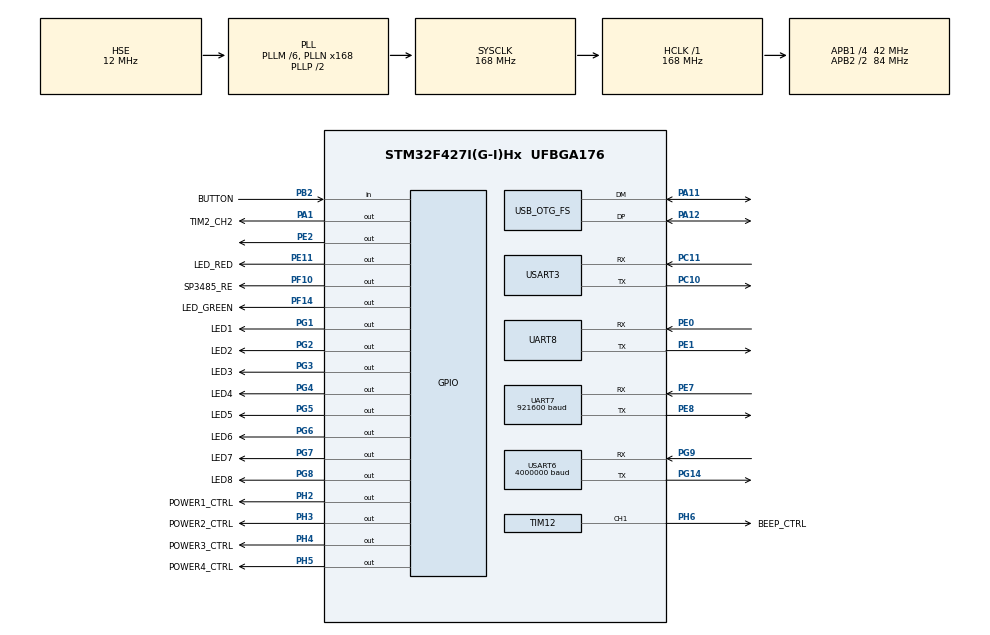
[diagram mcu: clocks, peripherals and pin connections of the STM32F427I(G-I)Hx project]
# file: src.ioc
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Dma.Request0=USART6_RX
Dma.Request1=USART6_TX
Dma.Request2=UART7_RX
Dma.Request3=UART7_TX
Dma.Request4=UART8_RX
Dma.Request5=UART8_TX
Dma.UART7_RX.2.Direction=DMA_PERIPH_TO_MEMORY
Dma.UART7_RX.2.FIFOMode=DMA_FIFOMODE_DISABLE
Dma.UART7_RX.2.Instance=DMA1_Stream3
Dma.UART7_RX.2.MemDataAlignment=DMA_MDATAALIGN_BYTE
Dma.UART7_RX.2.MemInc=DMA_MINC_ENABLE
Dma.UART7_RX.2.Mode=DMA_CIRCULAR
Dma.UART7_RX.2.PeriphDataAlignment=DMA_PDATAALIGN_BYTE
Dma.UART7_RX.2.PeriphInc=DMA_PINC_DISABLE
Dma.UART7_RX.2.Priority=DMA_PRIORITY_LOW
Dma.UART7_TX.3.Direction=DMA_MEMORY_TO_PERIPH
Dma.UART7_TX.3.FIFOMode=DMA_FIFOMODE_DISABLE
Dma.UART7_TX.3.Instance=DMA1_Stream1
Dma.UART7_TX.3.MemDataAlignment=DMA_MDATAALIGN_BYTE
Dma.UART7_TX.3.MemInc=DMA_MINC_ENABLE
Dma.UART7_TX.3.Mode=DMA_NORMAL
Dma.UART7_TX.3.PeriphDataAlignment=DMA_PDATAALIGN_BYTE
Dma.UART7_TX.3.PeriphInc=DMA_PINC_DISABLE
Dma.UART7_TX.3.Priority=DMA_PRIORITY_LOW
Dma.UART8_RX.4.Direction=DMA_PERIPH_TO_MEMORY
Dma.UART8_RX.4.FIFOMode=DMA_FIFOMODE_DISABLE
Dma.UART8_RX.4.Instance=DMA1_Stream6
Dma.UART8_RX.4.MemDataAlignment=DMA_MDATAALIGN_BYTE
Dma.UART8_RX.4.MemInc=DMA_MINC_ENABLE
Dma.UART8_RX.4.Mode=DMA_CIRCULAR
Dma.UART8_RX.4.PeriphDataAlignment=DMA_PDATAALIGN_BYTE
Dma.UART8_RX.4.PeriphInc=DMA_PINC_DISABLE
Dma.UART8_RX.4.Priority=DMA_PRIORITY_LOW
Dma.UART8_TX.5.Direction=DMA_MEMORY_TO_PERIPH
Dma.UART8_TX.5.FIFOMode=DMA_FIFOMODE_DISABLE
Dma.UART8_TX.5.Instance=DMA1_Stream0
Dma.UART8_TX.5.MemDataAlignment=DMA_MDATAALIGN_BYTE
Dma.UART8_TX.5.MemInc=DMA_MINC_ENABLE
Dma.UART8_TX.5.Mode=DMA_NORMAL
Dma.UART8_TX.5.PeriphDataAlignment=DMA_PDATAALIGN_BYTE
Dma.UART8_TX.5.PeriphInc=DMA_PINC_DISABLE
Dma.UART8_TX.5.Priority=DMA_PRIORITY_LOW
Dma.USART6_RX.0.Direction=DMA_PERIPH_TO_MEMORY
Dma.USART6_RX.0.FIFOMode=DMA_FIFOMODE_DISABLE
Dma.USART6_RX.0.Instance=DMA2_Stream1
Dma.USART6_RX.0.MemDataAlignment=DMA_MDATAALIGN_BYTE
Dma.USART6_RX.0.MemInc=DMA_MINC_ENABLE
Dma.USART6_RX.0.Mode=DMA_NORMAL
Dma.USART6_RX.0.PeriphDataAlignment=DMA_PDATAALIGN_BYTE
Dma.USART6_RX.0.PeriphInc=DMA_PINC_DISABLE
Dma.USART6_RX.0.Priority=DMA_PRIORITY_LOW
Dma.USART6_TX.1.Direction=DMA_MEMORY_TO_PERIPH
Dma.USART6_TX.1.FIFOMode=DMA_FIFOMODE_DISABLE
Dma.USART6_TX.1.Instance=DMA2_Stream6
Dma.USART6_TX.1.MemDataAlignment=DMA_MDATAALIGN_BYTE
Dma.USART6_TX.1.MemInc=DMA_MINC_ENABLE
Dma.USART6_TX.1.Mode=DMA_NORMAL
Dma.USART6_TX.1.PeriphDataAlignment=DMA_PDATAALIGN_BYTE
Dma.USART6_TX.1.PeriphInc=DMA_PINC_DISABLE
Dma.USART6_TX.1.Priority=DMA_PRIORITY_LOW
Mcu.Family=STM32F4
Mcu.Name=STM32F427I(G-I)Hx
Mcu.Package=UFBGA176
NVIC.DMA1_Stream0_IRQn=true\:0\:0\:false\:false\:true\:false\:true\:true
NVIC.DMA1_Stream1_IRQn=true\:0\:0\:false\:false\:true\:false\:true\:true
NVIC.DMA1_Stream3_IRQn=true\:0\:0\:false\:false\:true\:false\:true\:true
NVIC.DMA1_Stream6_IRQn=true\:0\:0\:false\:false\:true\:false\:true\:true
NVIC.DMA2_Stream1_IRQn=true\:0\:0\:false\:false\:true\:false\:true\:true
NVIC.DMA2_Stream6_IRQn=true\:0\:0\:false\:false\:true\:false\:true\:true
NVIC.OTG_FS_IRQn=true\:0\:0\:false\:false\:true\:false\:true\:true
NVIC.PriorityGroup=NVIC_PRIORITYGROUP_4
NVIC.TIM1_BRK_TIM9_IRQn=true\:0\:0\:false\:false\:true\:true\:true\:true
NVIC.TIM1_UP_TIM10_IRQn=true\:0\:0\:true\:false\:true\:true\:true\:true
NVIC.UART7_IRQn=true\:0\:0\:false\:false\:true\:true\:true\:true
NVIC.UART8_IRQn=true\:0\:0\:false\:false\:true\:true\:true\:true
NVIC.USART6_IRQn=true\:0\:0\:false\:false\:true\:true\:true\:true
PA1.GPIO_Label=TIM2_CH2
PA1.Signal=GPIO_Output
PA10.GPIO_PuPd=GPIO_PULLDOWN
PA10.Signal=USB_OTG_FS_ID
PA11.Mode=Device_Only
PA11.Signal=USB_OTG_FS_DM
PA12.Mode=Device_Only
PA12.Signal=USB_OTG_FS_DP
PB2/BOOT1.GPIO_Label=BUTTON
PB2/BOOT1.Signal=GPIO_Input
PC10.Mode=Asynchronous
PC10.Signal=USART3_TX
PC11.Mode=Asynchronous
PC11.Signal=USART3_RX
PE0.Mode=Asynchronous
PE0.Signal=UART8_RX
PE1.Mode=Asynchronous
PE1.Signal=UART8_TX
PE11.GPIO_Label=LED_RED
PE11.GPIO_PuPd=GPIO_PULLDOWN
PE11.Signal=GPIO_Output
PE2.Signal=GPIO_Output
PE7.Mode=Asynchronous
PE7.Signal=UART7_RX
PE8.Mode=Asynchronous
PE8.Signal=UART7_TX
PF10.GPIO_Label=SP3485_RE
PF10.GPIO_Speed=GPIO_SPEED_FREQ_HIGH
PF10.Signal=GPIO_Output
PF14.GPIO_Label=LED_GREEN
PF14.GPIO_PuPd=GPIO_PULLDOWN
PF14.Signal=GPIO_Output
PG1.GPIO_Label=LED1
PG1.GPIO_PuPd=GPIO_PULLUP
PG1.Signal=GPIO_Output
PG14.Mode=Asynchronous
PG14.Signal=USART6_TX
PG2.GPIO_Label=LED2
PG2.GPIO_PuPd=GPIO_PULLUP
PG2.Signal=GPIO_Output
PG3.GPIO_Label=LED3
PG3.GPIO_PuPd=GPIO_PULLUP
PG3.Signal=GPIO_Output
PG4.GPIO_Label=LED4
PG4.GPIO_PuPd=GPIO_PULLUP
PG4.Signal=GPIO_Output
PG5.GPIO_Label=LED5
PG5.GPIO_PuPd=GPIO_PULLUP
PG5.Signal=GPIO_Output
PG6.GPIO_Label=LED6
PG6.GPIO_PuPd=GPIO_PULLUP
PG6.Signal=GPIO_Output
PG7.GPIO_Label=LED7
PG7.GPIO_PuPd=GPIO_PULLUP
PG7.Signal=GPIO_Output
PG8.GPIO_Label=LED8
PG8.GPIO_PuPd=GPIO_PULLUP
PG8.Signal=GPIO_Output
PG9.Mode=Asynchronous
PG9.Signal=USART6_RX
PH0/OSC_IN.Mode=HSE-External-Oscillator
PH0/OSC_IN.Signal=RCC_OSC_IN
PH1/OSC_OUT.Mode=HSE-External-Oscillator
PH1/OSC_OUT.Signal=RCC_OSC_OUT
PH2.GPIO_Label=POWER1_CTRL
PH2.GPIO_PuPd=GPIO_PULLDOWN
PH2.Signal=GPIO_Output
PH3.GPIO_Label=POWER2_CTRL
PH3.GPIO_PuPd=GPIO_PULLDOWN
PH3.Signal=GPIO_Output
PH4.GPIO_Label=POWER3_CTRL
PH4.GPIO_PuPd=GPIO_PULLDOWN
PH4.Signal=GPIO_Output
PH5.GPIO_Label=POWER4_CTRL
PH5.GPIO_PuPd=GPIO_PULLDOWN
PH5.Signal=GPIO_Output
PH6.GPIO_Label=BEEP_CTRL
PH6.Signal=S_TIM12_CH1
ProjectManager.HeapSize=0x2000
ProjectManager.StackSize=0x2000
ProjectManager.TargetToolchain=MDK-ARM V5
RCC.48MHZClocksFreq_Value=48000000
RCC.AHBFreq_Value=168000000
RCC.APB1CLKDivider=RCC_HCLK_DIV4
RCC.APB1Freq_Value=42000000
RCC.APB1TimFreq_Value=84000000
RCC.APB2CLKDivider=RCC_HCLK_DIV2
RCC.APB2Freq_Value=84000000
RCC.APB2TimFreq_Value=168000000
RCC.CortexFreq_Value=168000000
RCC.HCLKFreq_Value=168000000
RCC.HSE_VALUE=12000000
RCC.HSI_VALUE=16000000
RCC.LSE_VALUE=32768
RCC.PLLM=6
RCC.PLLN=168
RCC.PLLQ=7
RCC.SYSCLKFreq_VALUE=168000000
RCC.SYSCLKSource=RCC_SYSCLKSOURCE_PLLCLK
RCC.VCOOutputFreq_Value=336000000
SH.S_TIM12_CH1.0=TIM12_CH1,PWM Generation1 CH1
TIM1.Period=499
TIM1.Prescaler=1679
TIM12.Channel-PWM\ Generation1\ CH1=TIM_CHANNEL_1
TIM12.Period=1999
TIM12.Prescaler=99
TIM9.Period=999
TIM9.Prescaler=1679
UART7.BaudRate=921600
UART7.VirtualMode=Asynchronous
UART8.VirtualMode=Asynchronous
USART3.VirtualMode=VM_ASYNC
USART6.BaudRate=4000000
USART6.VirtualMode=VM_ASYNC
USB_DEVICE.CLASS_NAME_FS=CDC
USB_DEVICE.VirtualMode-CDC_FS=Cdc
USB_DEVICE.VirtualModeFS=Cdc_FS
USB_OTG_FS.VirtualMode=Device_Only
VP_TIM12_VS_ClockSourceINT.Mode=Internal
VP_TIM1_VS_ClockSourceINT.Mode=Internal
VP_TIM9_VS_ClockSourceINT.Mode=Internal
VP_USB_DEVICE_VS_USB_DEVICE_CDC_FS.Mode=CDC_FS
board=USB

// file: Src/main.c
/* USER CODE BEGIN Header */
/**
  ******************************************************************************
  * @file           : main.c
  * @brief          : Main program body
  ******************************************************************************
  * @attention
  *
  * Copyright (c) 2023 STMicroelectronics.
  * All rights reserved.
  *
  * This software is licensed under terms that can be found in the LICENSE file
  * in the root directory of this software component.
  * If no LICENSE file comes with this software, it is provided AS-IS.
  *
  ******************************************************************************
  */
/* USER CODE END Header */
#include "main.h"
#include "dma.h"
#include "tim.h"
#include "usart.h"
#include "usb_device.h"
#include "gpio.h"

/* USER CODE BEGIN Includes */
#include "motor_control.h"
#include "buzzer.h"
#include "SEGGER_RTT.h"
/* USER CODE END Includes */

/* USER CODE BEGIN PTD */
typedef enum{
	EXAMPLE_BUZZER_START,
	EXAMPLE_BUZZER_STOP,
	EXAMPLE_BUZZER_RINGTONE,
	EXAMPLE_BUZZER_NO_LOOP,
	EXAMPLE_BUZZER_LOOP
}example_buzzer_e;
/* USER CODE END PTD */

/* USER CODE BEGIN PV */
MOTOR_send cmd[2];   //以全局变量声明电机控制结构体和电机数据结构体，方便在故障时通过debug查看变量值
MOTOR_recv data[2];
#define USB_MAX_RECEIVE_LEN 64
uint8_t rxData[USB_MAX_RECEIVE_LEN] = {0};
uint32_t rxLen = 0;

#define PWM_TIM		&htim12
#define PWM_CHN		TIM_CHANNEL_1
#ifndef USE_STATIC_MEM_ALLOCATION
buzzer_t mBuzzer;
#endif
buzzer_t *Buzzer;
example_buzzer_e example = EXAMPLE_BUZZER_STOP;
uint8_t nextPattern;

extern volatile float VELX[IMU_SAMPLE_FRAME], ANGX[IMU_SAMPLE_FRAME];
static uint32_t timer1_count;
static uint32_t gait50_count[GAIT_SAMPLE_FRAME];
static uint32_t gait85_count[GAIT_SAMPLE_FRAME];
static uint32_t GAIT_PERIOD;
extern DebugTypeDef usbDebug;

uint8_t uart6Data = 0;
uint8_t ucRxBuffer6[30] = {0};
static int LED_ON[8];
/* USER CODE END PV */

void SystemClock_Config(void);

/* USER CODE BEGIN 0 */
void pwm_start(){
	HAL_TIM_PWM_Start(PWM_TIM, PWM_CHN);
}

void pwm_set_dc(uint32_t dc){
	uint32_t arr, comp;

	arr = __HAL_TIM_GET_AUTORELOAD(PWM_TIM);
	comp = dc*arr/100;
	__HAL_TIM_SET_COMPARE(PWM_TIM, PWM_CHN, comp);
}

void pwm_set_freq(uint32_t freq){
	uint32_t psc, arr, sys;

	if (freq > 0){
		sys = HAL_RCC_GetSysClockFreq();
		arr = __HAL_TIM_GET_AUTORELOAD(PWM_TIM);
		psc = (sys/(freq*(arr+1)))-1;
		__HAL_TIM_SET_PRESCALER(PWM_TIM, psc);
		pwm_set_dc(50);
	}
	else
		__HAL_TIM_SET_COMPARE(PWM_TIM, PWM_CHN, 0);
}

void buzzer_end_callback(buzzer_t *buzzer){
	nextPattern = 1;
}

void motor_init(int i){
	if(i != 0 && i != 1) return;
	cmd[i].id=i;
	cmd[i].mode=1;
	cmd[i].T=0;
	cmd[i].W=0;
	cmd[i].Pos=0;
	cmd[i].K_P=0;
	cmd[i].K_W=0;
}

void motor_stop(int i){
	if(i != 0 && i != 1) return;
	cmd[i].mode=0;
}

void motor_zeroTorque(int i){
	if(i != 0 && i != 1) return;
	cmd[i].T = 0.0;
	cmd[i].W = 0.0;
	cmd[i].Pos = 0.0;
	cmd[i].K_P = 0.0;
	cmd[i].K_W = 0.0;
	if(SERVO_Send_recv(&cmd[i], &data[i])) //将控制指令发送给电机，同时接收返回值
		LED_ON[7] = 100; //LED1点亮
}

void motor_damping(int i){
	if(i != 0 && i != 1) return;
	cmd[i].T = 0.0;
	cmd[i].W = 0.0;
	cmd[i].Pos = 0.0;
	cmd[i].K_P = 0.0;
	cmd[i].K_W = 0.02;
	if(SERVO_Send_recv(&cmd[i], &data[i])) //将控制指令发送给电机，同时接收返回值
		LED_ON[7] = 100; //LED1点亮
}

void motor_profilePosition(int i, float pos_rad){
	if(i != 0 && i != 1) return;
	cmd[i].T = 0.0;
	cmd[i].W = 0.0;
	cmd[i].Pos = pos_rad*6.33f;
	cmd[i].K_P = 0.02f;
	cmd[i].K_W = 0.0;
	if(SERVO_Send_recv(&cmd[i], &data[i])) //将控制指令发送给电机，同时接收返回值
		LED_ON[7] = 100; //LED1点亮
}

void motor_profileVelocity(int i, float vel_rad){
	if(i != 0 && i != 1) return;
	cmd[i].T = 0.0;
	cmd[i].W = vel_rad*6.33f;
	cmd[i].Pos = 0;
	cmd[i].K_P = 0;
	cmd[i].K_W = 0.05f;
	if(SERVO_Send_recv(&cmd[i], &data[i])) //将控制指令发送给电机，同时接收返回值
		LED_ON[7] = 100; //LED1点亮
}

void gait_phase_detect(){

	uint32_t angmax1_count = 0;
	uint32_t angmin1_count = 0;
	uint32_t angmax2_count = 0;
	uint32_t angmin2_count = 0;

	uint32_t velplus1_count = 0;
	uint32_t velminus1_count = 0;
	uint32_t velplus2_count = 0;
	uint32_t velminus2_count = 0;

	for(uint32_t i=0; i< MEDIAN; i++){
		if(ANGX[i] < ANGX[MEDIAN]) angmax1_count++;
		else if(ANGX[i] > ANGX[MEDIAN]) angmin1_count++;

		if(VELX[i] < 0) velminus1_count++;
		else if(VELX[i] > 0) velplus1_count++;
	}
	for(uint32_t i=MEDIAN; i< IMU_SAMPLE_FRAME; i++){
		if(ANGX[i] < ANGX[MEDIAN]) angmax2_count++;
		else if(ANGX[i] > ANGX[MEDIAN]) angmin2_count++;

		if(VELX[i] < 0) velminus2_count++;
		else if(VELX[i] > 0) velplus2_count++;
	}

	if(angmin1_count > THRESHOLD && angmin2_count > THRESHOLD && velminus1_count > THRESHOLD && velplus2_count > THRESHOLD)
	{
		for(int i=0;i<GAIT_SAMPLE_FRAME-1;i++) {gait50_count[i]=gait50_count[i+1];}
		gait50_count[GAIT_SAMPLE_FRAME-1] = timer1_count - MEDIAN;
		LED_ON[0] = 100;
		debugPrintf("gait50: %d, %d, %d\r\n",gait50_count[0],gait50_count[1],gait50_count[2]);
	}
	if(angmax1_count > THRESHOLD && angmax2_count > THRESHOLD && velplus1_count > THRESHOLD && velminus2_count > THRESHOLD)
	{
		for(int i=0;i<GAIT_SAMPLE_FRAME-1;i++) {gait85_count[i]=gait85_count[i+1];}
		gait85_count[GAIT_SAMPLE_FRAME-1] = timer1_count - MEDIAN;
		LED_ON[1] = 100;
		debugPrintf("gait85: %d, %d, %d\r\n",gait85_count[0],gait85_count[1],gait85_count[2]);
	}
}

void gait_update_period(){

	GAIT_PERIOD = (gait50_count[2] - gait50_count[0])/2;
}

void HAL_TIM_PeriodElapsedCallback(TIM_HandleTypeDef *htim){
	if (htim == (&htim9)){
		buzzer_interrupt(Buzzer);
	}

	if (htim == (&htim1))
	{
//		gait_phase_detect();
//		gait_update_period();
//		uint32_t assist_start = gait50_count[GAIT_SAMPLE_FRAME-1] + 0.7*GAIT_PERIOD;
//		uint32_t assist_stop = gait50_count[GAIT_SAMPLE_FRAME-1] + 1.2*GAIT_PERIOD;
//		if(timer1_count >= assist_start && timer1_count < assist_stop)
//			motor_profileVelocity(0.5);
//		else
//			motor_zeroTorque();

		timer1_count++;
	}
}
/* USER CODE END 0 */

int main(void)
{

  /* MCU Configuration--------------------------------------------------------*/

  /* Reset of all peripherals, Initializes the Flash interface and the Systick. */
  HAL_Init();

  /* Configure the system clock */
  SystemClock_Config();

  /* Initialize all configured peripherals */
  MX_GPIO_Init();
  MX_DMA_Init();
  MX_USART6_UART_Init();
  MX_UART7_Init();
  MX_TIM1_Init();
  MX_UART8_Init();
  MX_TIM12_Init();
  MX_TIM9_Init();
  MX_USART3_UART_Init();
  MX_USB_DEVICE_Init();
  /* USER CODE BEGIN 2 */
	HAL_Delay(1000);
//	SEGGER_RTT_ConfigUpBuffer(0, NULL, NULL, 0, SEGGER_RTT_MODE_BLOCK_IF_FIFO_FULL);

	initDebugBuf();
//	HAL_UART_Receive_IT(&huart8, (uint8_t *)&ucData_L, 1);
	HAL_GPIO_WritePin(GPIOH, POWER1_CTRL_Pin, GPIO_PIN_SET);
  HAL_GPIO_WritePin(GPIOH, POWER2_CTRL_Pin, GPIO_PIN_SET);
	HAL_GPIO_WritePin(GPIOH, POWER3_CTRL_Pin, GPIO_PIN_SET);
  HAL_GPIO_WritePin(GPIOH, POWER4_CTRL_Pin, GPIO_PIN_SET);

	HAL_TIM_Base_Start_IT(&htim1);
//	HAL_TIM_PWM_Start(&htim12, TIM_CHANNEL_1);

	HAL_UART_Receive_DMA(&huart7, ucData_L, 1);

	uartPrintf("StartSTM32\r\n");

	cmd[0].id=0; 			//给电机控制指令结构体赋值
	cmd[0].mode=1;
	cmd[0].T=0;
	cmd[0].W=2;
	cmd[0].Pos=0;
	cmd[0].K_P=0;
	cmd[0].K_W=0.05;
	cmd[1].id=1; 			//给电机控制指令结构体赋值
	cmd[1].mode=1;
	cmd[1].T=0;
	cmd[1].W=4;
	cmd[1].Pos=0;
	cmd[1].K_P=0;
	cmd[1].K_W=0.05;

//	cmd.T=0;
//	cmd.W=0;
//	cmd.Pos=0;
//	cmd.K_P=0;
//	cmd.K_W=0;
	unsigned int count = 0;

	Buzzer = &mBuzzer;
	Buzzer->interruptMs = 10; // interrupt will be triggered every 10ms
  Buzzer->fnx.pwmOut = pwm_set_freq; // pass set frequency function
	buzzer_init(Buzzer);
  HAL_TIM_Base_Start_IT(&htim9);
  pwm_start();
	nextPattern = 1;
  /* USER CODE END 2 */

  /* Infinite loop */
  /* USER CODE BEGIN WHILE */
  while (1)
  {
//		sendAllDebugMsg(&usbDebug);
//		beep_set_times(1);
//		beep_set_tick(0);
		SERVO_Send_recv(&cmd[0], &data[0]);	//将控制指令发送给电机，同时接收返回值
		HAL_Delay(10);
		SERVO_Send_recv(&cmd[1], &data[1]);	//将控制指令发送给电机，同时接收返回值
//		uartPrintf("count: %d\r\n",count);
		HAL_Delay(200);
		HAL_GPIO_TogglePin(LED_GREEN_GPIO_Port,LED_GREEN_Pin);
		count++;	//每0.2秒循环一次，3秒后发送指令使电机停止转动
		if(count % 6 == 0)
		{
			cmd[0].W=0;
			cmd[0].K_W=0;
			cmd[1].W=0;
			cmd[1].K_W=0;
			HAL_Delay(400);
		}
		else{
			cmd[0].W=2;
			cmd[0].K_W=0.05;
			cmd[1].W=2;
			cmd[1].K_W=0.05;
		}
    /* USER CODE END WHILE */

    /* USER CODE BEGIN 3 */

//  SEGGER_RTT_printf(0, "printf Test: %%c,         'S' : %c.\r\n", 'S');
//  SEGGER_RTT_printf(0, "printf Test: %%5c,        'E' : %5c.\r\n", 'E');
//  SEGGER_RTT_printf(0, "printf Test: %%-5c,       'G' : %-5c.\r\n", 'G');
//  SEGGER_RTT_printf(0, "printf Test: %%5.3c,      'G' : %-5c.\r\n", 'G');
//  SEGGER_RTT_printf(0, "printf Test: %%.3c,       'E' : %-5c.\r\n", 'E');
//  SEGGER_RTT_printf(0, "printf Test: %%c,         'R' : %c.\r\n", 'R');
//	HAL_Delay(500);
  }
  /* USER CODE END 3 */
}

void SystemClock_Config(void)
{
  RCC_OscInitTypeDef RCC_OscInitStruct = {0};
  RCC_ClkInitTypeDef RCC_ClkInitStruct = {0};

  /** Configure the main internal regulator output voltage
  */
  __HAL_RCC_PWR_CLK_ENABLE();
  __HAL_PWR_VOLTAGESCALING_CONFIG(PWR_REGULATOR_VOLTAGE_SCALE1);

  /** Initializes the RCC Oscillators according to the specified parameters
  * in the RCC_OscInitTypeDef structure.
  */
  RCC_OscInitStruct.OscillatorType = RCC_OSCILLATORTYPE_HSE;
  RCC_OscInitStruct.HSEState = RCC_HSE_ON;
  RCC_OscInitStruct.PLL.PLLState = RCC_PLL_ON;
  RCC_OscInitStruct.PLL.PLLSource = RCC_PLLSOURCE_HSE;
  RCC_OscInitStruct.PLL.PLLM = 6;
  RCC_OscInitStruct.PLL.PLLN = 168;
  RCC_OscInitStruct.PLL.PLLP = RCC_PLLP_DIV2;
  RCC_OscInitStruct.PLL.PLLQ = 7;
  if (HAL_RCC_OscConfig(&RCC_OscInitStruct) != HAL_OK)
  {
    Error_Handler();
  }

  /** Initializes the CPU, AHB and APB buses clocks
  */
  RCC_ClkInitStruct.ClockType = RCC_CLOCKTYPE_HCLK|RCC_CLOCKTYPE_SYSCLK
                              |RCC_CLOCKTYPE_PCLK1|RCC_CLOCKTYPE_PCLK2;
  RCC_ClkInitStruct.SYSCLKSource = RCC_SYSCLKSOURCE_PLLCLK;
  RCC_ClkInitStruct.AHBCLKDivider = RCC_SYSCLK_DIV1;
  RCC_ClkInitStruct.APB1CLKDivider = RCC_HCLK_DIV4;
  RCC_ClkInitStruct.APB2CLKDivider = RCC_HCLK_DIV2;

  if (HAL_RCC_ClockConfig(&RCC_ClkInitStruct, FLASH_LATENCY_5) != HAL_OK)
  {
    Error_Handler();
  }
}

/* USER CODE BEGIN 4 */
//void HAL_TIM_PeriodElapsedCallback(TIM_HandleTypeDef *htim){
//	if (htim == (&htim1))
//	{
//		static unsigned int count = 0;
////		uartPrintf("count: %d\r\n",count);
////		sprintf(uartBuf,"count: %d\r\n",count);
////		HAL_UART_Transmit(&huart7,(uint8_t *)uartBuf, (COUNTOF(uartBuf)-1), 55);
////		SERVO_Send_recv(&cmd, &data);	//将控制指令发送给电机，同时接收返回值
////		HAL_GPIO_TogglePin(LED_GREEN_GPIO_Port,LED_GREEN_Pin);
////		count++;	//每0.5秒循环一次，3秒后发送指令使电机停止转动
////		if(count%10 == 0)
////		{
////			cmd.W=0;
////			cmd.K_W=0;
////			count=0;
////		}
//
//
//	}
//
//
//
//}

static int sys_count = 0;
void sysTickTask(void)
{
	sys_count++;
	for(int i=0; i<8; i++){
		LED_ON[i]--;
		if(LED_ON[i] > 0) HAL_GPIO_WritePin(GPIOG, (uint16_t)2<<i, GPIO_PIN_RESET);
		else HAL_GPIO_WritePin(GPIOG, (uint16_t)2<<i, GPIO_PIN_SET);
		if(LED_ON[i] < 0) LED_ON[i] = 0;
	}
	if(sys_count%1000 == 0){
		HAL_GPIO_TogglePin(LED_GREEN_GPIO_Port, LED_GREEN_Pin);
		debugPrintf("sys_time: %.3f sec\r\n",sys_count/1000.f);

	}
	if(sys_count%5000 == 0){
//		buzzer_start(Buzzer, 2500, 500, BUZZER_LOOP_OFF);
		debugPrintf("buzzer_start\r\n");
	}

}
/* USER CODE END 4 */

void Error_Handler(void)
{
  __disable_irq();
  while (1)
  {
  }
}
